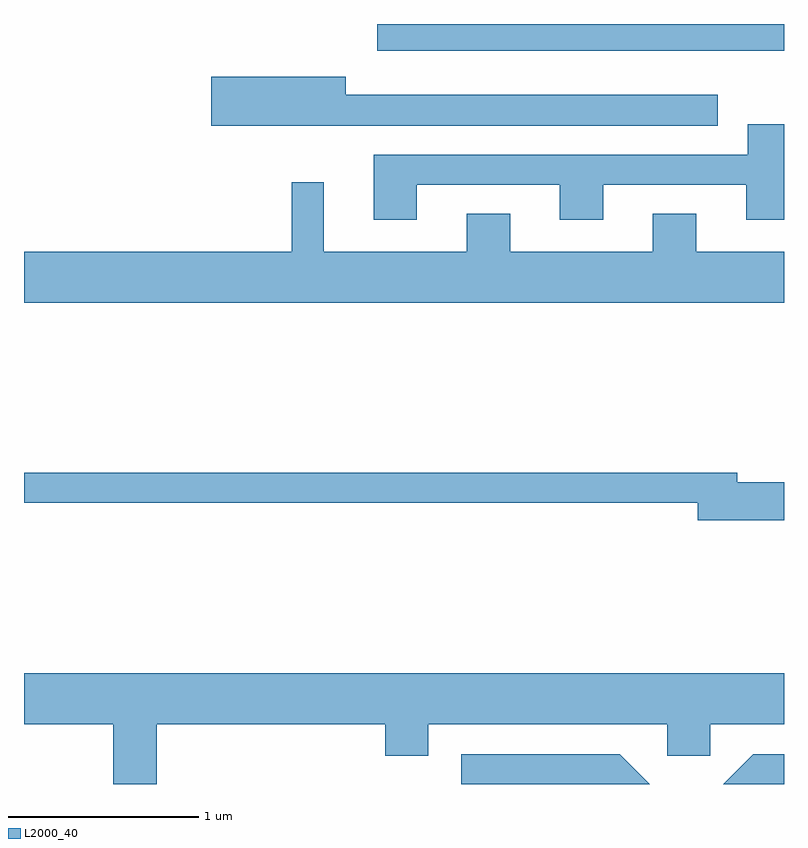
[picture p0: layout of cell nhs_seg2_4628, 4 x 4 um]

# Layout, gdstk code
import gdstk
lib = gdstk.Library(unit=1e-6, precision=1e-09)
def R(c, l, rs):  # rectangles x0, y0, x1, y1
    for r in rs: c.add(gdstk.rectangle(r[:2], r[2:], *l))
def P(c, l, *ps):  # polygons
    for p in ps: c.add(gdstk.Polygon(p, *l))
L2000_40 = (2000, 40)

nhs_seg2_4628 = lib.new_cell('nhs_seg2_4628')
R(nhs_seg2_4628, L2000_40, [(323.471,1029.661,325.611,1029.802)])
P(nhs_seg2_4628, L2000_40, [(325.263,1029.429),(323.304,1029.429),(323.304,1029.524),(322.596,1029.524),(322.596,1029.266),(325.263,1029.266)],
  [(323.679,1028.956),(324.431,1028.956),(324.431,1028.771),(324.659,1028.771),(324.659,1028.956),(325.411,1028.956),(325.411,1028.771),(325.611,1028.771),(325.611,1029.274),(325.421,1029.274),(325.421,1029.114),(323.451,1029.114),(323.451,1028.771),(323.679,1028.771)],
  [(325.611,1028.604),(325.149,1028.604),(325.149,1028.804),(324.921,1028.804),(324.921,1028.604),(324.169,1028.604),(324.169,1028.804),(323.941,1028.804),(323.941,1028.604),(323.189,1028.604),(323.189,1028.968),(323.021,1028.968),(323.021,1028.604),(321.611,1028.604),(321.611,1028.336),(325.611,1028.336)],
  [(325.611,1027.389),(325.364,1027.389),(325.364,1027.439),(321.611,1027.439),(321.611,1027.281),(325.156,1027.281),(325.156,1027.191),(325.611,1027.191)],
  [(322.309,1026.116),(323.511,1026.116),(323.511,1025.951),(323.739,1025.951),(323.739,1026.116),(324.996,1026.116),(324.996,1025.951),(325.224,1025.951),(325.224,1026.116),(325.611,1026.116),(325.611,1026.384),(321.611,1026.384),(321.611,1026.116),(322.081,1026.116),(322.081,1025.802),(322.309,1025.802)],
  [(325.611,1025.959),(325.449,1025.959),(325.292,1025.802),(325.611,1025.802)],
  [(324.747,1025.959),(323.911,1025.959),(323.911,1025.802),(324.904,1025.802)])

lib.write_gds('nhs_seg2_4628.gds')
